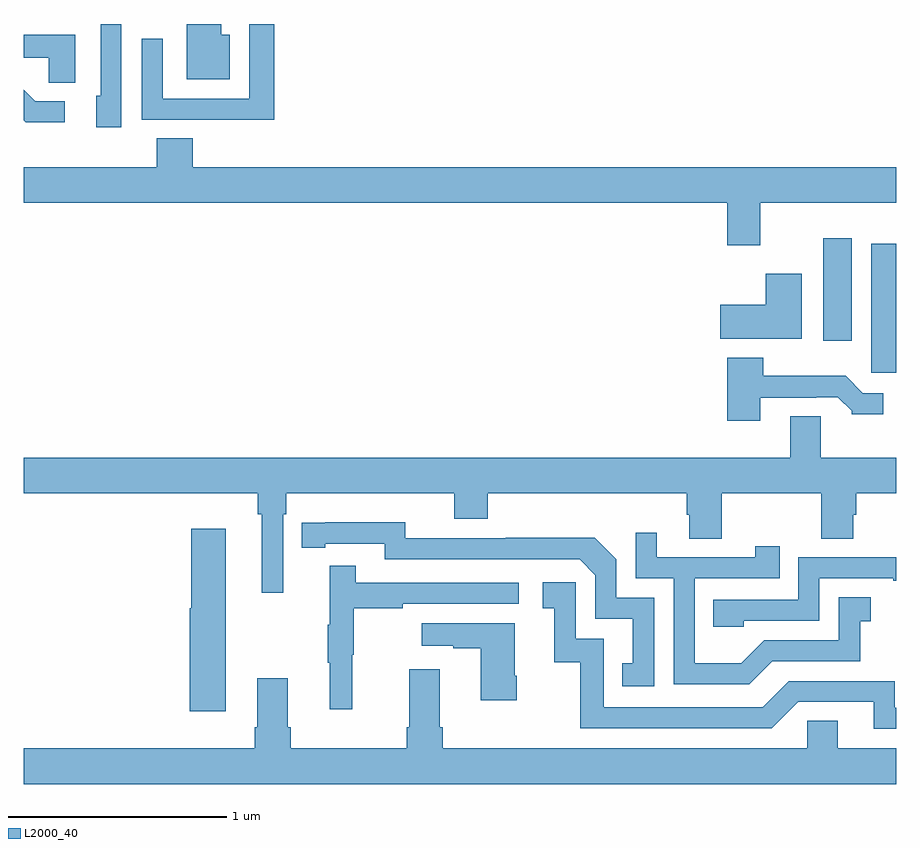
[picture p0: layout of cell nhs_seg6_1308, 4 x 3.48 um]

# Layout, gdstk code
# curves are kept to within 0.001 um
import gdstk
lib = gdstk.Library(unit=1e-6, precision=1e-09)
def R(c, l, rs):  # rectangles x0, y0, x1, y1
    for r in rs: c.add(gdstk.rectangle(r[:2], r[2:], *l))
def P(c, l, *ps):  # polygons
    for p in ps: c.add(gdstk.Polygon(p, *l))
L2000_40 = (2000, 40)

nhs_seg6_1308 = lib.new_cell('nhs_seg6_1308')
R(nhs_seg6_1308, L2000_40, [(194.885,935.901,195,936.493), (194.666,936.048,194.797,936.517)])
P(nhs_seg6_1308, L2000_40, [(191.448,937.5),(191.352,937.5),(191.352,937.17),(191.333,937.17),(191.333,937.026),(191.448,937.026)],
  [(192.149,937.5),(192.033,937.5),(192.033,937.158),(191.637,937.158),(191.637,937.432),(191.541,937.432),(191.541,937.062),(191.857,937.062),(191.857,937.061),(192.149,937.061)],
  [(191.944,937.45),(191.905,937.45),(191.905,937.5),(191.747,937.5),(191.747,937.247),(191.944,937.247)],
  [(191.236,937.45),(191,937.45),(191,937.346),(191.115,937.346),(191.115,937.231),(191.236,937.231)],
  [(191.188,937.146),(191.053,937.146),(191,937.199),(191,937.058),(191.009,937.049),(191.188,937.049)],
  [(194.377,936.68),(195,936.68),(195,936.844),(191.774,936.844),(191.774,936.977),(191.609,936.977),(191.609,936.844),(191,936.844),(191,936.68),(194.225,936.68),(194.225,936.486),(194.377,936.486)],
  [(194.566,936.355),(194.402,936.355),(194.402,936.214),(194.193,936.214),(194.193,936.056),(194.566,936.056)],
  [(194.377,935.787),(194.633,935.787),(194.633,935.79),(194.732,935.79),(194.796,935.726),(194.796,935.711),(194.941,935.711),(194.941,935.808),(194.847,935.808),(194.769,935.887),(194.39,935.887),(194.39,935.971),(194.225,935.971),(194.225,935.682),(194.377,935.682)],
  [(192.189,935.252),(192.203,935.252),(192.203,935.348),(192.974,935.348),(192.974,935.231),(193.127,935.231),(193.127,935.348),(194.039,935.348),(194.039,935.25),(194.051,935.25),(194.051,935.14),(194.199,935.14),(194.199,935.348),(194.656,935.348),(194.656,935.14),(194.803,935.14),(194.803,935.25),(194.816,935.25),(194.816,935.348),(195,935.348),(195,935.512),(194.653,935.512),(194.653,935.702),(194.513,935.702),(194.513,935.512),(191,935.512),(191,935.348),(192.073,935.348),(192.073,935.252),(192.092,935.252),(192.092,934.893),(192.189,934.893)],
  [(193.89,934.869),(193.716,934.869),(193.716,935.046),(193.618,935.144),(193.21,935.144),(193.21,935.142),(192.75,935.142),(192.75,935.215),(192.274,935.214),(192.274,935.098),(192.382,935.098),(192.382,935.118),(192.654,935.118),(192.654,935.046),(193.548,935.046),(193.62,934.974),(193.62,934.773),(193.793,934.773),(193.793,934.569),(193.744,934.569),(193.744,934.464),(193.89,934.464)],
  [(191.926,935.185),(191.768,935.185),(191.768,934.821),(191.762,934.821),(191.762,934.35),(191.926,934.35)],
  [(194.431,934.578),(194.835,934.578),(194.835,934.763),(194.884,934.763),(194.884,934.873),(194.736,934.873),(194.736,934.674),(194.394,934.674),(194.29,934.57),(194.076,934.57),(194.076,934.959),(194.465,934.959),(194.465,935.107),(194.354,935.107),(194.354,935.055),(193.903,935.055),(193.903,935.167),(193.806,935.167),(193.806,934.959),(193.98,934.959),(193.98,934.473),(194.326,934.473)],
  [(194.301,934.764),(194.646,934.764),(194.646,934.959),(194.987,934.959),(194.987,934.947),(195,934.947),(195,935.055),(194.55,935.055),(194.55,934.86),(194.161,934.86),(194.161,934.737),(194.301,934.737)],
  [(192.506,934.608),(192.514,934.608),(192.514,934.822),(192.737,934.822),(192.737,934.842),(193.27,934.842),(193.27,934.938),(192.521,934.938),(192.521,935.017),(192.404,935.017),(192.404,934.745),(192.393,934.745),(192.393,934.571),(192.404,934.571),(192.404,934.359),(192.506,934.359)],
  [(195,934.365),(194.994,934.365),(194.994,934.488),(194.508,934.488),(194.388,934.368),(193.659,934.368),(193.659,934.683),(193.53,934.683),(193.53,934.942),(193.38,934.942),(193.38,934.821),(193.433,934.821),(193.433,934.575),(193.551,934.575),(193.551,934.272),(194.43,934.272),(194.55,934.392),(194.897,934.392),(194.897,934.269),(195,934.269)],
  [(193.26,934.513),(193.252,934.513),(193.252,934.753),(192.825,934.753),(192.825,934.649),(192.968,934.649),(192.968,934.639),(193.094,934.639),(193.094,934.401),(193.26,934.401)],
  [(195,934.18),(194.731,934.18),(194.731,934.307),(194.592,934.307),(194.592,934.18),(192.92,934.18),(192.92,934.276),(192.907,934.276),(192.907,934.543),(192.767,934.543),(192.767,934.276),(192.755,934.276),(192.755,934.18),(192.224,934.18),(192.224,934.276),(192.211,934.276),(192.211,934.501),(192.071,934.501),(192.071,934.276),(192.059,934.276),(192.059,934.18),(191,934.18),(191,934.016),(195,934.016)])

lib.write_gds('nhs_seg6_1308.gds')
